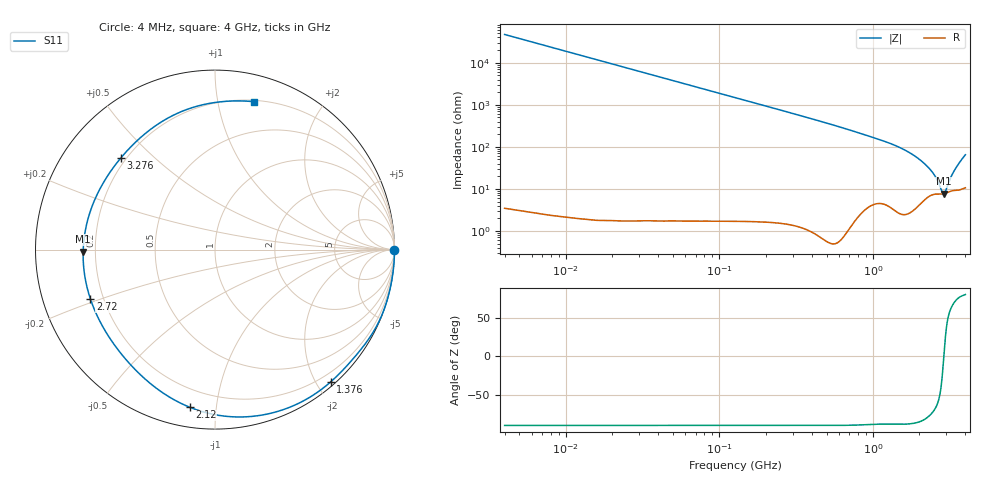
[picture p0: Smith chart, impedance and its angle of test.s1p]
! TOUCHSTONE file generated by CST MICROWAVE STUDIO
! Date and time: Sat Jul 18 13:31:05 2026
! Project name: test.cst
! Header version: 2024
! Port assignment regex: !\s*Touchstone port\s*([0-9]+)\s*=\s*(CST MWS port|CST DES external port|CST DES block port)\s*(.+)\s* \(\"(.*)\"\)(\s*mode\s*([0-9]+))?.*
! Touchstone port assignment:
! Touchstone port 1 = CST MWS port 1 ("")
# GHz S RI R 50
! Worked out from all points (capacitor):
!   1000 points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, 4 MHz to 4 GHz, reference 50 ohm
!   read as one part to ground: C = 843 fF near 24 MHz
!   lowest |Z| = 7.66 ohm at 2.888 GHz (marker M1)
!   series resonance near 2.895 GHz, so ESL is about 3.6 nH
!   S11 on the Smith chart (normalised r, x): 4 MHz: open; 1.376 GHz: 0.06, -2.20; 2.12 GHz: 0.10, -0.85; 2.72 GHz: 0.15, -0.19; 3.276 GHz: 0.18, +0.40; 4 GHz: 0.21, +1.28
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0.004  1 -0.00212
0.256  0.9905 -0.1358
0.504  0.9626 -0.2693
0.752  0.91 -0.4078
1.004  0.8233 -0.543
1.216  0.7316 -0.651
1.376  0.6452 -0.7363
1.504  0.5566 -0.8046
1.644  0.4349 -0.8706
1.784  0.2866 -0.9172
1.9  0.1458 -0.9325
2.004  0.0105 -0.9217
2.12  -0.1412 -0.8782
2.296  -0.3491 -0.7551
2.504  -0.5453 -0.5515
2.612  -0.6288 -0.423
2.72  -0.6944 -0.2743
2.808  -0.7267 -0.1393
2.888  -0.7346 -0.0109
3.004  -0.7076 0.1714
3.136  -0.6324 0.3542
3.276  -0.5234 0.5122
3.392  -0.4194 0.6201
3.504  -0.3072 0.706
3.616  -0.1854 0.7698
3.732  -0.0564 0.8096
3.856  0.0756 0.8271
4  0.2186 0.8239
